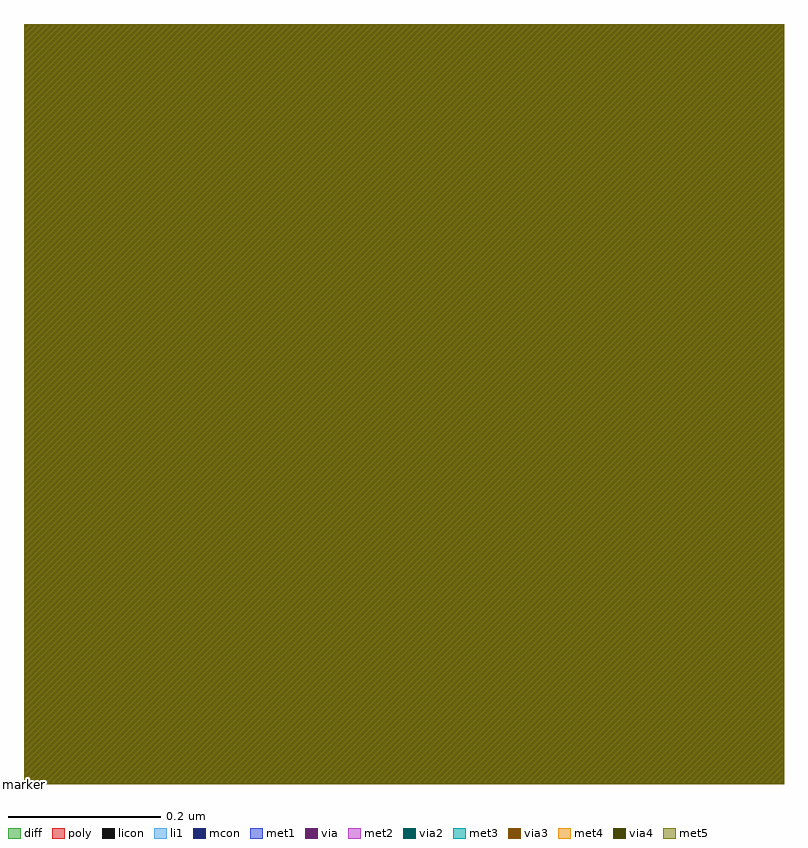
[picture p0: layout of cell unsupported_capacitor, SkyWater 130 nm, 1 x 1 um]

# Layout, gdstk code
import gdstk
lib = gdstk.Library(unit=1e-6, precision=1e-09)
def R(c, l, rs):  # rectangles x0, y0, x1, y1
    for r in rs: c.add(gdstk.rectangle(r[:2], r[2:], *l))
diff = (65, 20)
poly = (66, 20)
licon = (66, 44)
li1 = (67, 20)
mcon = (67, 44)
met1 = (68, 20)
via = (68, 44)
met2 = (69, 20)
via2 = (69, 44)
met3 = (70, 20)
via3 = (70, 44)
met4 = (71, 20)
via4 = (71, 44)
met5 = (72, 20)

unsupported_capacitor = lib.new_cell('unsupported_capacitor')
R(unsupported_capacitor, diff, [(0,0,1,1)])
R(unsupported_capacitor, poly, [(0,0,1,1)])
R(unsupported_capacitor, licon, [(0,0,1,1)])
R(unsupported_capacitor, li1, [(0,0,1,1)])
R(unsupported_capacitor, mcon, [(0,0,1,1)])
R(unsupported_capacitor, met1, [(0,0,1,1)])
R(unsupported_capacitor, via, [(0,0,1,1)])
R(unsupported_capacitor, met2, [(0,0,1,1)])
R(unsupported_capacitor, via2, [(0,0,1,1)])
R(unsupported_capacitor, met3, [(0,0,1,1)])
R(unsupported_capacitor, via3, [(0,0,1,1)])
R(unsupported_capacitor, met4, [(0,0,1,1)])
R(unsupported_capacitor, via4, [(0,0,1,1)])
R(unsupported_capacitor, met5, [(0,0,1,1)])
unsupported_capacitor.add(gdstk.Label('marker', (0,0), layer=89, texttype=44))

lib.write_gds('unsupported_capacitor.gds')
